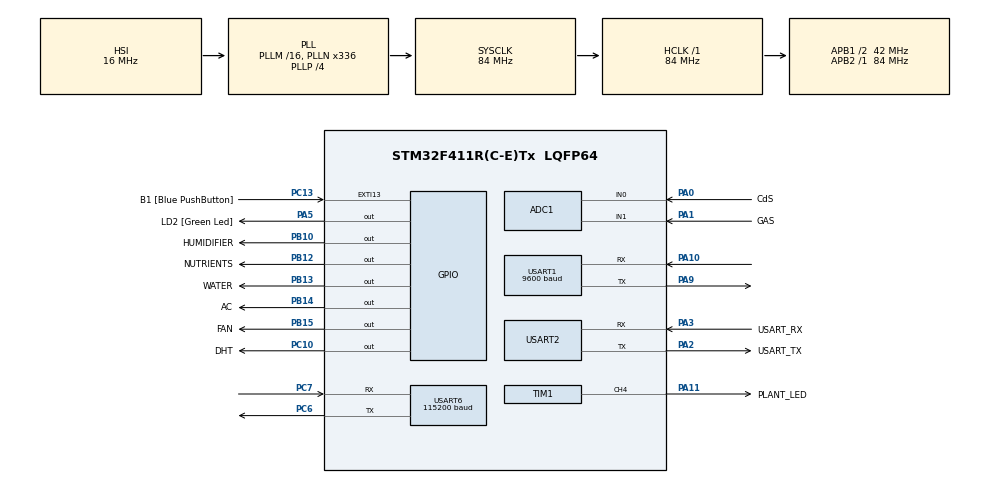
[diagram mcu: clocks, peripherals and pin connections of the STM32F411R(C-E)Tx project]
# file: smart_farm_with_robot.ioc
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ADC1.Channel-0\#ChannelRegularConversion=ADC_CHANNEL_0
ADC1.Channel-1\#ChannelRegularConversion=ADC_CHANNEL_1
ADC1.ExternalTrigConv=ADC_EXTERNALTRIGCONV_T2_TRGO
ADC1.NbrOfConversion=2
ADC1.NbrOfConversionFlag=1
ADC1.Rank-0\#ChannelRegularConversion=1
ADC1.Rank-1\#ChannelRegularConversion=2
ADC1.SamplingTime-0\#ChannelRegularConversion=ADC_SAMPLETIME_56CYCLES
ADC1.SamplingTime-1\#ChannelRegularConversion=ADC_SAMPLETIME_56CYCLES
ADC1.master=1
Mcu.Family=STM32F4
Mcu.Name=STM32F411R(C-E)Tx
Mcu.Package=LQFP64
NVIC.ADC_IRQn=true\:0\:0\:false\:false\:true\:true\:true\:true
NVIC.EXTI15_10_IRQn=true\:0\:0\:false\:false\:true\:true\:true\:true
NVIC.PriorityGroup=NVIC_PRIORITYGROUP_0
NVIC.TIM3_IRQn=true\:0\:0\:false\:false\:true\:true\:true\:true
NVIC.USART1_IRQn=true\:0\:0\:false\:false\:true\:true\:true\:true
NVIC.USART2_IRQn=true\:0\:0\:false\:false\:true\:true\:true\:true
NVIC.USART6_IRQn=true\:0\:0\:false\:false\:true\:true\:true\:true
PA0-WKUP.GPIO_Label=CdS
PA0-WKUP.Signal=ADCx_IN0
PA1.GPIO_Label=GAS
PA1.Signal=ADCx_IN1
PA10.Mode=Asynchronous
PA10.Signal=USART1_RX
PA11.GPIO_Label=PLANT_LED
PA11.Signal=S_TIM1_CH4
PA13.GPIO_Label=TMS
PA13.Mode=Serial_Wire
PA13.Signal=SYS_JTMS-SWDIO
PA14.GPIO_Label=TCK
PA14.Mode=Serial_Wire
PA14.Signal=SYS_JTCK-SWCLK
PA2.GPIO_Label=USART_TX
PA2.Mode=Asynchronous
PA2.Signal=USART2_TX
PA3.GPIO_Label=USART_RX
PA3.Mode=Asynchronous
PA3.Signal=USART2_RX
PA5.GPIO_Label=LD2 [Green Led]
PA5.Signal=GPIO_Output
PA9.Mode=Asynchronous
PA9.Signal=USART1_TX
PB10.GPIO_Label=HUMIDIFIER
PB10.Signal=GPIO_Output
PB12.GPIO_Label=NUTRIENTS
PB12.Signal=GPIO_Output
PB13.GPIO_Label=WATER
PB13.Signal=GPIO_Output
PB14.GPIO_Label=AC
PB14.Signal=GPIO_Output
PB15.GPIO_Label=FAN
PB15.Signal=GPIO_Output
PB3.GPIO_Label=SWO
PB3.Signal=SYS_JTDO-SWO
PC10.GPIO_Label=DHT
PC10.Signal=GPIO_Output
PC13-ANTI_TAMP.GPIO_Label=B1 [Blue PushButton]
PC13-ANTI_TAMP.GPIO_ModeDefaultEXTI=GPIO_MODE_IT_FALLING
PC13-ANTI_TAMP.Signal=GPXTI13
PC14-OSC32_IN.Mode=LSE-External-Oscillator
PC14-OSC32_IN.Signal=RCC_OSC32_IN
PC15-OSC32_OUT.Mode=LSE-External-Oscillator
PC15-OSC32_OUT.Signal=RCC_OSC32_OUT
PC6.Mode=Asynchronous
PC6.Signal=USART6_TX
PC7.Mode=Asynchronous
PC7.Signal=USART6_RX
PH0\ -\ OSC_IN.Mode=HSE-External-Clock-Source
PH0\ -\ OSC_IN.Signal=RCC_OSC_IN
PH1\ -\ OSC_OUT.Mode=HSE-External-Clock-Source
PH1\ -\ OSC_OUT.Signal=RCC_OSC_OUT
ProjectManager.HeapSize=0x200
ProjectManager.StackSize=0x400
ProjectManager.TargetToolchain=STM32CubeIDE
RCC.48MHZClocksFreq_Value=84000000
RCC.AHBFreq_Value=84000000
RCC.APB1CLKDivider=RCC_HCLK_DIV2
RCC.APB1Freq_Value=42000000
RCC.APB1TimFreq_Value=84000000
RCC.APB2Freq_Value=84000000
RCC.APB2TimFreq_Value=84000000
RCC.CortexFreq_Value=84000000
RCC.FLatency-AdvancedSettings=FLASH_LATENCY_2
RCC.HCLKFreq_Value=84000000
RCC.HSE_VALUE=8000000
RCC.HSI_VALUE=16000000
RCC.PLLN=336
RCC.PLLP=RCC_PLLP_DIV4
RCC.SYSCLKFreq_VALUE=84000000
RCC.SYSCLKSource=RCC_SYSCLKSOURCE_PLLCLK
RCC.VCOOutputFreq_Value=336000000
SH.ADCx_IN0.0=ADC1_IN0,IN0
SH.ADCx_IN1.0=ADC1_IN1,IN1
SH.S_TIM1_CH4.0=TIM1_CH4,PWM Generation4 CH4
TIM1.AutoReloadPreload=TIM_AUTORELOAD_PRELOAD_ENABLE
TIM1.Channel-PWM\ Generation4\ CH4=TIM_CHANNEL_4
TIM1.Pulse-PWM\ Generation4\ CH4=0
TIM2.Channel-Output\ Compare2\ No\ Output=TIM_CHANNEL_2
TIM2.Period=1000000-1
TIM2.Prescaler=84-1
TIM2.TIM_MasterOutputTrigger=TIM_TRGO_UPDATE
TIM3.AutoReloadPreload=TIM_AUTORELOAD_PRELOAD_ENABLE
TIM3.Period=1000-1
TIM3.Prescaler=84-1
USART1.BaudRate=9600
USART1.VirtualMode=VM_ASYNC
USART2.VirtualMode=VM_ASYNC
USART6.BaudRate=115200
USART6.VirtualMode=VM_ASYNC
VP_TIM1_VS_ClockSourceINT.Mode=Internal
VP_TIM2_VS_ClockSourceINT.Mode=Internal
VP_TIM2_VS_no_output2.Mode=Output Compare2 No Output
VP_TIM3_VS_ClockSourceINT.Mode=Internal
board=NUCLEO-F411RE

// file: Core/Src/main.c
/* USER CODE BEGIN Header */
/**
  ******************************************************************************
  * @file           : main.c
  * @brief          : Main program body
  ******************************************************************************
  * @attention
  *
  * Copyright (c) 2025 STMicroelectronics.
  * All rights reserved.
  *
  * This software is licensed under terms that can be found in the LICENSE file
  * in the root directory of this software component.
  * If no LICENSE file comes with this software, it is provided AS-IS.
  *
  ******************************************************************************
  */
/* USER CODE END Header */
#include "main.h"

/* USER CODE BEGIN Includes */
#include <string.h>
#include <stdio.h>
#include <stdlib.h>
#include "dht22.h"
/* USER CODE END Includes */

/* USER CODE BEGIN PD */
#define RX_BUF_SIZE 256 // 명령어를 받아오는 버퍼의 최대 크기
#define ARR_CNT 6 // 명령어 인자의 최대 갯수
#define CMD_SIZE 100 // 명령어의 최대 길이
/* USER CODE END PD */

ADC_HandleTypeDef hadc1;

TIM_HandleTypeDef htim1;
TIM_HandleTypeDef htim2;
TIM_HandleTypeDef htim3;

UART_HandleTypeDef huart1;
UART_HandleTypeDef huart2;
UART_HandleTypeDef huart6;

/* USER CODE BEGIN PV */
/* ============ 토양센서 변수 ============= */
float temp, humi, ph; // 온도, 습도, PH
int ec; // EC
/* ============ 1초 타이머(TIM3) 변수 ============= */
volatile int tim3Flag1Sec = 1; // 1초가 되었을 때를 알려주는 플래그 변수
volatile int tim3Flag1Min = 1; // 1분이 되었을 때를 알려주는 플래그 변수
volatile unsigned long long tim3Sec = 0; // 1초마다 하나씩 증가하는 변수(초단위 카운트)
volatile unsigned long long tim3Min = 0; // 1분마다 하나씩 증가하는 변수(초단위 카운트)
/* ============ 명령어(UART6) 변수 ============= */
char rxBuf[RX_BUF_SIZE]; // 라즈베리파이에서 명령어를 받을 버퍼
volatile uint8_t rx_ch; // 명령어를 한바이트씩 불러올 때 저장할 char 변수
volatile uint8_t rx_idx = 0; // 명령어 버퍼의 요소의 index
volatile uint8_t line_received = 0; // 명령어를 모두 받아왔을 때를 알려주는 플래그 변수
/* ============ 실내 온습도 조도, 가스 변수 ============= */
extern float air_temp, air_humi;
volatile uint16_t ADC1xConvertValue[2] = {0}; // 0: 조도, 1: 공기질
volatile int adcFlag = 0;
/* ============ 자동 동작 임계값 조절 변수 ============= */
volatile int airQuality = 50, landEC = 1000;
volatile float airTemp = 26.0, airHumi = 70.0, landHumi = 50.0, landPH = 6.5;
/* ============ 펌프 타이머 상태 변수 ============= */
volatile uint16_t g_water_ms_left = 0;     // 물 펌프 남은 시간(ms)
volatile uint16_t g_nutr_ms_left  = 0;     // 영양제 펌프 남은 시간(ms)
/* USER CODE END PV */

void SystemClock_Config(void);
static void MX_GPIO_Init(void);
static void MX_USART2_UART_Init(void);
static void MX_USART1_UART_Init(void);
static void MX_USART6_UART_Init(void);
static void MX_TIM3_Init(void);
static void MX_ADC1_Init(void);
static void MX_TIM2_Init(void);
static void MX_TIM1_Init(void);
/* USER CODE BEGIN PFP */
void MX_GPIO_LED_ON(int flag);
void MX_GPIO_LED_OFF(int flag);
void UART6_OnCommand(const char* line_in);

static inline void UART6_RxStart_IT(void)
{
	HAL_UART_Receive_IT(&huart6, (uint8_t*)&rx_ch, 1);
}
/* USER CODE END PFP */

/* USER CODE BEGIN 0 */
/* ======================================= 디버깅용 print ===========================================*/
int __io_putchar(int ch) {
  uint8_t c = (uint8_t)ch;
  HAL_UART_Transmit(&huart2, &c, 1, HAL_MAX_DELAY);
  return ch;
}

/* ======================================= 모듈 ON/OFF ===========================================*/
void MX_GPIO_LED_ON(int pin)
{
	HAL_GPIO_WritePin(LD2_GPIO_Port, pin, GPIO_PIN_SET);
}
void MX_GPIO_LED_OFF(int pin)
{
	HAL_GPIO_WritePin(LD2_GPIO_Port, pin, GPIO_PIN_RESET);
}

void MX_GPIO_FAN_ON(int pin)
{
	HAL_GPIO_WritePin(FAN_GPIO_Port, pin, GPIO_PIN_SET);
}
void MX_GPIO_FAN_OFF(int pin)
{
	HAL_GPIO_WritePin(FAN_GPIO_Port, pin, GPIO_PIN_RESET);
}

void MX_GPIO_AC_ON(int pin)
{
	HAL_GPIO_WritePin(AC_GPIO_Port, pin, GPIO_PIN_SET);
}
void MX_GPIO_AC_OFF(int pin)
{
	HAL_GPIO_WritePin(AC_GPIO_Port, pin, GPIO_PIN_RESET);
}

void MX_GPIO_WATER_ON(int pin)
{
	HAL_GPIO_WritePin(WATER_GPIO_Port, pin, GPIO_PIN_SET);
}
void MX_GPIO_WATER_OFF(int pin)
{
	HAL_GPIO_WritePin(WATER_GPIO_Port, pin, GPIO_PIN_RESET);
}

void MX_GPIO_NUTRIENTS_ON(int pin)
{
	HAL_GPIO_WritePin(NUTRIENTS_GPIO_Port, pin, GPIO_PIN_SET);
}
void MX_GPIO_NUTRIENTS_OFF(int pin)
{
	HAL_GPIO_WritePin(NUTRIENTS_GPIO_Port, pin, GPIO_PIN_RESET);
}

void MX_GPIO_PLANT_LED_ON(int pin)
{
	HAL_GPIO_WritePin(PLANT_LED_GPIO_Port, pin, GPIO_PIN_SET);
}
void MX_GPIO_PLANT_LED_OFF(int pin)
{
	HAL_GPIO_WritePin(PLANT_LED_GPIO_Port, pin, GPIO_PIN_RESET);
}
void MX_GPIO_HUMIDIFIER_ON(int pin)
{
	HAL_GPIO_WritePin(HUMIDIFIER_GPIO_Port, pin, GPIO_PIN_SET);
}
void MX_GPIO_HUMIDIFIER_OFF(int pin)
{
	HAL_GPIO_WritePin(HUMIDIFIER_GPIO_Port, pin, GPIO_PIN_RESET);
}
/* =======================================[토양]온도, 습도, EC, PH 값 읽어오기============================================== */
static void ReadTempHumECPH()
{
	uint8_t tx_data[8] = {0x01, 0x03, 0x00, 0x00, 0x00, 0x07, 0x04, 0x08};
	uint8_t rx_data[19] = {0,};

	HAL_UART_Transmit(&huart1, tx_data, 8, 100);
	HAL_UART_Receive(&huart1, rx_data, 19, 100);

	if(rx_data[0] == 1 && rx_data[1] == 3)
	{
	  humi = (float)((rx_data[3] << 8) | rx_data[4]) / 10.0;
	  temp = (float)((rx_data[5] << 8) | rx_data[6]) / 10.0;
	  ec = (int)((rx_data[7] << 8) | rx_data[8]);
	  ph = (float)((rx_data[9] << 8) | rx_data[10]) / 10.0;

	  printf("<토양센서> 온도=%.1f C  습도=%.1f %%RH EC=%d us/cm  PH=%.1f\r\n",
			  temp, humi, ec, ph);
	}
}

/* =======================================1초 카운트 타이머(TIM3)============================================== */
void HAL_TIM_PeriodElapsedCallback(TIM_HandleTypeDef *htim)		//1ms 마다 호출
{
    if (htim->Instance == TIM3)
    {
        static int tim3Cnt = 0;

        // 논블로킹 펌프 타이머 처리: 1ms 단위
        if (g_water_ms_left > 0) {
            if (--g_water_ms_left == 0) {
                MX_GPIO_WATER_OFF(WATER_Pin);   // 5초 만료 → 펌프 OFF
                printf("[WATER] OFF\r\n");
            }
        }
        if (g_nutr_ms_left > 0) {
            if (--g_nutr_ms_left == 0) {
                MX_GPIO_NUTRIENTS_OFF(NUTRIENTS_Pin); // 2초 만료 → 영양제 OFF
                printf("[NUTRIENTS] OFF\r\n");
            }
        }

        // 1초 플래그 로직
        tim3Cnt++;
        if (tim3Cnt >= 1000) // 1ms * 1000 = 1초
        {
            tim3Flag1Sec = 1;
            tim3Sec++;
            tim3Cnt = 0;
        }

        if (tim3Sec >= 60) // 1분마다
        {
        	tim3Flag1Min = 1;
        	tim3Min++;
        	tim3Sec = 0;
        }
    }

    // TIM2는 ADC 트리거 용으로 쓰고 있으므로 여기서는 아무 것도 안 함.
    if (htim->Instance == TIM2)
    {
    	/* no-op */
    }
}

/* =======================================라즈베리파이에서 명령어 받아오기(UART6)============================================== */
void HAL_UART_RxCpltCallback(UART_HandleTypeDef *huart)
{
	if (huart->Instance == USART6)
	{
		if (rx_ch == '\n' || rx_ch == '\r')
		{
			line_received = 1;
		}
		else
		{
			if (rx_idx < RX_BUF_SIZE - 1)
			{
				rxBuf[rx_idx++] = rx_ch;
			}
		}

		UART6_RxStart_IT(); // 다음 바이트 계속 수신
	}
}
void HAL_UART_ErrorCallback(UART_HandleTypeDef *huart)
{
  if (huart->Instance == USART6) {
    UART6_RxStart_IT();
  }
}

/* =======================================명령어 수신 시 실행되는 함수============================================== */
void UART6_HandleLine(void)
{
    // 빠른 반환: 이벤트 없으면 끝
    if (!line_received) return;

    // ---- 크리티컬 섹션: ISR과 경합 방지용 ----
    __disable_irq();
    uint16_t n = rx_idx;
    if (n >= RX_BUF_SIZE) n = RX_BUF_SIZE - 1;

    static char line[RX_BUF_SIZE];              // 로컬(정적) 라인 버퍼
    memcpy(line, (const void*)rxBuf, n);        // 전역 -> 로컬 복사
    rx_idx = 0;                                 // 전역 인덱스 리셋
    line_received = 0;                          // 이벤트 플래그 클리어
    __enable_irq();
    // ---- 크리티컬 섹션 종료 ----

    // NUL-terminate
    line[n] = '\0';

    // 1) 디버그 출력(UART2)
    printf("%s\r\n", line);

    // 2) 콜백 훅
	UART6_OnCommand(line);

    // 3) 에코: '\n' 하나 붙여서 UART6로 돌려보내기
//    if (n < RX_BUF_SIZE - 1) {
//        line[n++] = '\n';
//    }
//    HAL_UART_Transmit(&huart6, (uint8_t*)line, n, HAL_MAX_DELAY);
}

/* =======================================명령어 처리============================================== */
/* line 끝의 \r, \n, 공백 제거 */
static void rstrip(char *s)
{
    size_t n = strlen(s);
    while (n && (s[n-1] == '\r' || s[n-1] == '\n' || s[n-1] == ' ' || s[n-1] == '\t')) {
        s[--n] = '\0';
    }
}
__attribute__((weak)) void UART6_OnCommand(const char* line_in)
{
    /* 주의: line_in은 상수 포인터일 수 있으므로 안전하게 로컬 버퍼로 복사 */
    char line[64];
    strncpy(line, line_in, sizeof(line)-1);
    line[sizeof(line)-1] = '\0';
    rstrip(line);

    // 받아온 명령어 파싱을 위한 변수
    int i = 0;
    char * pToken;
    char * pArray[ARR_CNT]={0};

    pToken = strtok(line, "[@]");
    while (pToken != NULL)
    {
    	pArray[i] = pToken;
    	if(++i >= ARR_CNT)
    		break;
    	pToken = strtok(NULL, "[@]");
    }

    if(!strcmp(pArray[0], "LED")) // 생장등 컨트롤
    {
    	if(!strcmp(pArray[1], "ON"))
    	{
    		MX_GPIO_LED_ON(LD2_Pin);   // LD2 켬
    		__HAL_TIM_SetCompare(&htim1, TIM_CHANNEL_4, 65535); // 생장등 최대
			printf("LED ON\r\n");
    	}
    	else if(!strcmp(pArray[1], "OFF"))
    	{
    		MX_GPIO_LED_OFF(LD2_Pin);   // LD2 끔
    		__HAL_TIM_SetCompare(&htim1, TIM_CHANNEL_4, 0); // 생장등 끔
			printf("LED OFF\r\n");
    	}
    	else if(!strcmp(pArray[1],"LOW"))
    	{
    		__HAL_TIM_SetCompare(&htim1, TIM_CHANNEL_4, 21854); // 생장등 LOW
    		printf("LED LOW\r\n");
    	}
    	else if(!strcmp(pArray[1],"MID"))
    	{
    		__HAL_TIM_SetCompare(&htim1, TIM_CHANNEL_4, 43690); // 생장등 MID
    		printf("LED MID\r\n");
    	}
    	else if(!strcmp(pArray[1],"HIGH"))
    	{
    		__HAL_TIM_SetCompare(&htim1, TIM_CHANNEL_4, 65535); // 생장등 HIGH
    		printf("LED HIGH\r\n");
    	}
    }
    else if(!strcmp(pArray[0], "AIR")) // 실내 환경 임계 값 변경
    {
    	if(!strcmp(pArray[1], "TEMP"))
    	{
    		airTemp = atoff(pArray[2]);
    		printf("실내 온도 조정: %.1f\r\n", airTemp);
    	}
    	else if(!strcmp(pArray[1], "HUMI"))
    	{
    		airHumi = atoff(pArray[2]);
    		printf("실내 습도 조정: %.1f\r\n", airHumi);
    	}
    	else if(!strcmp(pArray[1], "QUALITY"))
    	{
    		airQuality = atoi(pArray[2]);
    		printf("실내 공기질 조정: %d\r\n", airQuality);
    	}
    	if(!strcmp(pArray[1], "ON"))
    	{
    		MX_GPIO_AC_ON(AC_Pin);   // AC 켬
    		MX_GPIO_FAN_ON(FAN_Pin);	// FAN 켬
    		MX_GPIO_HUMIDIFIER_ON(HUMIDIFIER_Pin); // HUMIDIFIER 켬
			printf("AC, FAN ON\r\n");
    	}
    	else if(!strcmp(pArray[1], "OFF"))
    	{
    		MX_GPIO_AC_OFF(AC_Pin);   // AC 끔
    		MX_GPIO_FAN_OFF(FAN_Pin);	// FAN 끔
    		MX_GPIO_HUMIDIFIER_OFF(HUMIDIFIER_Pin); // HUMIDIFIER 끔
			printf("AC, FAN OFF\r\n");
    	}

    }
    else if(!strcmp(pArray[0], "LAND")) // 토양 환경 임계 값 변경
    {
    	if(!strcmp(pArray[1], "PH"))
    	{
    		landPH = atoff(pArray[2]);
    		printf("토양 PH 조정: %.1f\r\n", landPH);
    	}
    	else if(!strcmp(pArray[1], "HUMI"))
    	{
    		landHumi = atoff(pArray[2]);
    		printf("토양 습도 조정: %.1f\r\n", landHumi);
    	}
    	else if(!strcmp(pArray[1], "EC"))
    	{
    		landEC = atoi(pArray[2]);
    		printf("토양 EC 조정: %d\r\n", landEC);
    	}
    	if(!strcmp(pArray[1], "ON"))
    	{
    		MX_GPIO_WATER_ON(WATER_Pin);   // WATER 켬
    		MX_GPIO_NUTRIENTS_ON(NUTRIENTS_Pin);	// NUTRIENTS 켬
			printf("WATER, NUTRIENTS ON\r\n");
    	}
    	else if(!strcmp(pArray[1], "OFF"))
    	{
    		MX_GPIO_WATER_OFF(WATER_Pin);   // WATER 끔
    		MX_GPIO_NUTRIENTS_OFF(NUTRIENTS_Pin);	// NUTRIENTS 끔
			printf("WATER, NUTRIENTS OFF\r\n");
    	}
    }
    else
    {
        // 알 수 없는 명령 (원하면 NAK 회신)
        // const char *nak = "ERR Unknown command\n";
        // HAL_UART_Transmit(&huart6, (uint8_t*)nak, strlen(nak), 50);
    }
}

/* =======================================아날로그 신호(조도, 가스) 받아오기============================================= */
void HAL_ADC_ConvCpltCallback(ADC_HandleTypeDef *hadc)
{
	static int channel = 0;
	if (channel == 0)
	{
		uint32_t reverse = (uint32_t)4095 - (uint32_t)HAL_ADC_GetValue(hadc);
		uint32_t cds = (reverse * 100 + 2047) / 4095;
		ADC1xConvertValue[channel] = cds;
		channel = 1;
	}
	else if (channel == 1)
	{
		uint32_t gas = ((uint32_t)HAL_ADC_GetValue(hadc) * 100 + 2047) / 4095;
		ADC1xConvertValue[channel] = gas;
		channel = 0;
		adcFlag = 1;
	}

}

/* =======================================아날로그 신호(조도, 가스) 수신 시 실행되는 함수============================================= */
void ADC_HandleLine(void)
{
	if (!adcFlag) return;

	adcFlag = 0;
	printf("조도 : %d, 가스: %d\r\n", ADC1xConvertValue[0], ADC1xConvertValue[1]);
}

/* =======================================물 주기 함수============================================= */
void WaterPump10Sec(void)
{
    // 이미 동작 중이면 재시작하지 않고 무시
    if (g_water_ms_left > 0) {
        printf("[WATER] busy (%ums left)\r\n", (unsigned)g_water_ms_left);
        return;
    }

    MX_GPIO_WATER_ON(WATER_Pin);
    g_water_ms_left = 10000;   // 10초
    printf("[WATER] ON\r\n");
}

/* =======================================영양제 주기 함수============================================= */
void NutrientsPump5Sec(void)
{
	// 이미 동작 중이면 재시작하지 않고 무시
    if (g_nutr_ms_left > 0) {
        printf("[NUTRIENTS] busy (%ums left)\r\n", (unsigned)g_nutr_ms_left);
        return;
    }

    MX_GPIO_NUTRIENTS_ON(NUTRIENTS_Pin);
    g_nutr_ms_left = 5000;    // 5초
    printf("[NUTRIENTS] ON\r\n");
}

/* =======================================1분마다 자동 임계 값과 현재 값을 비교하는 함수============================================= */
void AutomaticAction(void)
{
	/*------------------------------------실내 공기----------------------------------------*/
	if(air_temp > airTemp) // 실내 온도
	{
	  // AC 켬
	  MX_GPIO_AC_ON(AC_Pin);
	  printf("[AC] ON (임계 값: %.1f, 현재 값: %.1f)\r\n", airTemp, air_temp);
	}
	else
	{
	  // AC 끔
	  MX_GPIO_AC_OFF(AC_Pin);
	  printf("[AC] OFF (임계 값: %.1f, 현재 값: %.1f)\r\n", airTemp, air_temp);
	}

	if(air_humi < airHumi) // 실내 습도
	{
	  // 가습기 켬
		MX_GPIO_HUMIDIFIER_ON(HUMIDIFIER_Pin);
		printf("[HUMIDIFIER] ON (임계 값: %.1f, 현재 값: %.1f)\r\n", airHumi, air_humi);
	}
	else
	{
	  // 가습기 끔
		MX_GPIO_HUMIDIFIER_OFF(HUMIDIFIER_Pin);
		printf("[HUMIDIFIER] OFF (임계 값: %.1f, 현재 값: %.1f)\r\n", airHumi, air_humi);
	}

	if(ADC1xConvertValue[1] > airQuality) // 실내 공기질
	{
	  // 환기 켬
	  MX_GPIO_FAN_ON(FAN_Pin);
	  printf("[FAN] ON (임계 값: %d, 현재 값: %d)\r\n", airQuality, ADC1xConvertValue[1]);
	}
	else
	{
	  // 환기 끔
	  MX_GPIO_FAN_OFF(FAN_Pin);
	  printf("[FAN] OFF (임계 값: %d, 현재 값: %d)\r\n", airQuality, ADC1xConvertValue[1]);
	}

	/*------------------------------------토양----------------------------------------*/
	if(humi < landHumi) // 토양 습도
	{
		// 물 주기(10초)
		WaterPump10Sec();
	}

	if(ph > landPH || ec < landEC) // 토양 PH & EC
	{
		// 영양제 주기(5초)
		NutrientsPump5Sec();
	}
}

/* =======================================5분마다 현재 환경 값을 DB에 저장하기 위해 UART6로 보내는 함수============================================= */
void DB_UART6(void)
{
    uint8_t sendBuf[CMD_SIZE] = {0};     // <-- char -> uint8_t

    int n = snprintf((char*)sendBuf, sizeof(sendBuf),
                     "AIR@%.1f@%.1f@%d@%d\n",
                     air_temp, air_humi, ADC1xConvertValue[1], ADC1xConvertValue[0]); // AIR@온도@습도@공기질@조도
    if (n > 0) {
    	HAL_UART_Transmit(&huart6, sendBuf, (uint16_t)n, HAL_MAX_DELAY);
    	printf("%s\r\n", sendBuf);
    }

    n = snprintf((char*)sendBuf, sizeof(sendBuf),
                 "LAND@%.1f@%.1f@%d@%.1f\n",
                 temp, humi, ec, ph); // LAND@온도@습도@ec@ph
    if (n > 0) {
    	HAL_UART_Transmit(&huart6, sendBuf, (uint16_t)n, HAL_MAX_DELAY);
    	printf("%s\r\n", sendBuf);
    }
}

/* =======================================10초마다 현재 환경 값을 디버깅하기위해 UART6로 보내는 함수============================================= */
void Debuging_UART6(void)
{
    uint8_t sendBuf[CMD_SIZE] = {0};     // <-- char -> uint8_t

    int n = snprintf((char*)sendBuf, sizeof(sendBuf),
                     "현재 스마트팜 내부 환경 => AIR@%.1f@%.1f@%d@%d\n",
                     air_temp, air_humi, ADC1xConvertValue[1], ADC1xConvertValue[0]); // AIR@온도@습도@공기질@조도
    if (n > 0) {
    	HAL_UART_Transmit(&huart6, sendBuf, (uint16_t)n, HAL_MAX_DELAY);
    	printf("%s\r\n", sendBuf);
    }

    n = snprintf((char*)sendBuf, sizeof(sendBuf),
                 "현재 토양 환경 => LAND@%.1f@%.1f@%d@%.1f\n",
                 temp, humi, ec, ph); // LAND@온도@습도@ec@ph
    if (n > 0) {
    	HAL_UART_Transmit(&huart6, sendBuf, (uint16_t)n, HAL_MAX_DELAY);
    	printf("%s\r\n", sendBuf);
    }
}
/* USER CODE END 0 */

int main(void)
{

  /* MCU Configuration--------------------------------------------------------*/

  /* Reset of all peripherals, Initializes the Flash interface and the Systick. */
  HAL_Init();

  /* Configure the system clock */
  SystemClock_Config();

  /* Initialize all configured peripherals */
  MX_GPIO_Init();
  MX_USART2_UART_Init();
  MX_USART1_UART_Init();
  MX_USART6_UART_Init();
  MX_TIM3_Init();
  MX_ADC1_Init();
  MX_TIM2_Init();
  MX_TIM1_Init();
  /* USER CODE BEGIN 2 */
  printf("\r\n[BOOT] Soil Sensor , temp & humi (USART1=Sensor, USART6=DHT, USART2=Debug)\r\n");

  UART6_RxStart_IT();
  DHT22_Init();

  if(HAL_TIM_Base_Start_IT(&htim3) != HAL_OK)
  {
	  Error_Handler();
  }

  if(HAL_TIM_Base_Start_IT(&htim2) != HAL_OK)
  {
	  Error_Handler();
  }

  if(HAL_TIM_PWM_Start(&htim1, TIM_CHANNEL_4) != HAL_OK)
  {
	  Error_Handler();
  }

  if (HAL_ADC_Start_IT(&hadc1) != HAL_OK)
  {
	  Error_Handler();
  }
  /* USER CODE END 2 */

  /* Infinite loop */
  /* USER CODE BEGIN WHILE */
  while (1)
  {
	  // 라즈베리파이에서 받은 명령어 처리 함수
	  UART6_HandleLine();

	  // 실내 온습도값 읽고 출력(5초에 한번 씩)
	  DHT22_ReadPeriodic();

	  // 조도, 가스값 읽어옴
	  ADC_HandleLine();

	  //1초에 한번
	  if(tim3Flag1Sec)
	  {
		  tim3Flag1Sec = 0; // 1초 플래그 초기화

		  if(!(tim3Sec%10)) //10초에 한 번
		  {
			  // (토양)온도, 습도, EC, PH값 읽고 출력
			  ReadTempHumECPH();
			  // 현재 공기, 토양 센서 값 디버깅(UART6)
			  Debuging_UART6();
		  }
	  }

	  if(tim3Flag1Min)
	  {
		  tim3Flag1Min = 0; // 1분 플래그 초기화

		  // 자동 임계 값과 현재 값을 비교
		  AutomaticAction();

		  if (!(tim3Min % 5)) // 5분에 한 번
		  {
			  DB_UART6(); // DB에 생장 환경 데이터 전송
		  }
	  }

    /* USER CODE END WHILE */

  }
}

void SystemClock_Config(void)
{
  RCC_OscInitTypeDef RCC_OscInitStruct = {0};
  RCC_ClkInitTypeDef RCC_ClkInitStruct = {0};

  /** Configure the main internal regulator output voltage
  */
  __HAL_RCC_PWR_CLK_ENABLE();
  __HAL_PWR_VOLTAGESCALING_CONFIG(PWR_REGULATOR_VOLTAGE_SCALE1);

  /** Initializes the RCC Oscillators according to the specified parameters
  * in the RCC_OscInitTypeDef structure.
  */
  RCC_OscInitStruct.OscillatorType = RCC_OSCILLATORTYPE_HSI;
  RCC_OscInitStruct.HSIState = RCC_HSI_ON;
  RCC_OscInitStruct.HSICalibrationValue = RCC_HSICALIBRATION_DEFAULT;
  RCC_OscInitStruct.PLL.PLLState = RCC_PLL_ON;
  RCC_OscInitStruct.PLL.PLLSource = RCC_PLLSOURCE_HSI;
  RCC_OscInitStruct.PLL.PLLM = 16;
  RCC_OscInitStruct.PLL.PLLN = 336;
  RCC_OscInitStruct.PLL.PLLP = RCC_PLLP_DIV4;
  RCC_OscInitStruct.PLL.PLLQ = 4;
  if (HAL_RCC_OscConfig(&RCC_OscInitStruct) != HAL_OK)
  {
    Error_Handler();
  }

  /** Initializes the CPU, AHB and APB buses clocks
  */
  RCC_ClkInitStruct.ClockType = RCC_CLOCKTYPE_HCLK|RCC_CLOCKTYPE_SYSCLK
                              |RCC_CLOCKTYPE_PCLK1|RCC_CLOCKTYPE_PCLK2;
  RCC_ClkInitStruct.SYSCLKSource = RCC_SYSCLKSOURCE_PLLCLK;
  RCC_ClkInitStruct.AHBCLKDivider = RCC_SYSCLK_DIV1;
  RCC_ClkInitStruct.APB1CLKDivider = RCC_HCLK_DIV2;
  RCC_ClkInitStruct.APB2CLKDivider = RCC_HCLK_DIV1;

  if (HAL_RCC_ClockConfig(&RCC_ClkInitStruct, FLASH_LATENCY_2) != HAL_OK)
  {
    Error_Handler();
  }
}

static void MX_ADC1_Init(void)
{

  ADC_ChannelConfTypeDef sConfig = {0};

  /** Configure the global features of the ADC (Clock, Resolution, Data Alignment and number of conversion)
  */
  hadc1.Instance = ADC1;
  hadc1.Init.ClockPrescaler = ADC_CLOCK_SYNC_PCLK_DIV4;
  hadc1.Init.Resolution = ADC_RESOLUTION_12B;
  hadc1.Init.ScanConvMode = ENABLE;
  hadc1.Init.ContinuousConvMode = DISABLE;
  hadc1.Init.DiscontinuousConvMode = DISABLE;
  hadc1.Init.ExternalTrigConvEdge = ADC_EXTERNALTRIGCONVEDGE_RISING;
  hadc1.Init.ExternalTrigConv = ADC_EXTERNALTRIGCONV_T2_TRGO;
  hadc1.Init.DataAlign = ADC_DATAALIGN_RIGHT;
  hadc1.Init.NbrOfConversion = 2;
  hadc1.Init.DMAContinuousRequests = DISABLE;
  hadc1.Init.EOCSelection = ADC_EOC_SINGLE_CONV;
  if (HAL_ADC_Init(&hadc1) != HAL_OK)
  {
    Error_Handler();
  }

  /** Configure for the selected ADC regular channel its corresponding rank in the sequencer and its sample time.
  */
  sConfig.Channel = ADC_CHANNEL_0;
  sConfig.Rank = 1;
  sConfig.SamplingTime = ADC_SAMPLETIME_56CYCLES;
  if (HAL_ADC_ConfigChannel(&hadc1, &sConfig) != HAL_OK)
  {
    Error_Handler();
  }

  /** Configure for the selected ADC regular channel its corresponding rank in the sequencer and its sample time.
  */
  sConfig.Channel = ADC_CHANNEL_1;
  sConfig.Rank = 2;
  if (HAL_ADC_ConfigChannel(&hadc1, &sConfig) != HAL_OK)
  {
    Error_Handler();
  }

}

static void MX_TIM1_Init(void)
{

  TIM_ClockConfigTypeDef sClockSourceConfig = {0};
  TIM_MasterConfigTypeDef sMasterConfig = {0};
  TIM_OC_InitTypeDef sConfigOC = {0};
  TIM_BreakDeadTimeConfigTypeDef sBreakDeadTimeConfig = {0};

  htim1.Instance = TIM1;
  htim1.Init.Prescaler = 0;
  htim1.Init.CounterMode = TIM_COUNTERMODE_UP;
  htim1.Init.Period = 65535;
  htim1.Init.ClockDivision = TIM_CLOCKDIVISION_DIV1;
  htim1.Init.RepetitionCounter = 0;
  htim1.Init.AutoReloadPreload = TIM_AUTORELOAD_PRELOAD_ENABLE;
  if (HAL_TIM_Base_Init(&htim1) != HAL_OK)
  {
    Error_Handler();
  }
  sClockSourceConfig.ClockSource = TIM_CLOCKSOURCE_INTERNAL;
  if (HAL_TIM_ConfigClockSource(&htim1, &sClockSourceConfig) != HAL_OK)
  {
    Error_Handler();
  }
  if (HAL_TIM_PWM_Init(&htim1) != HAL_OK)
  {
    Error_Handler();
  }
  sMasterConfig.MasterOutputTrigger = TIM_TRGO_RESET;
  sMasterConfig.MasterSlaveMode = TIM_MASTERSLAVEMODE_DISABLE;
  if (HAL_TIMEx_MasterConfigSynchronization(&htim1, &sMasterConfig) != HAL_OK)
  {
    Error_Handler();
  }
  sConfigOC.OCMode = TIM_OCMODE_PWM1;
  sConfigOC.Pulse = 0;
  sConfigOC.OCPolarity = TIM_OCPOLARITY_HIGH;
  sConfigOC.OCFastMode = TIM_OCFAST_DISABLE;
  sConfigOC.OCIdleState = TIM_OCIDLESTATE_RESET;
  sConfigOC.OCNIdleState = TIM_OCNIDLESTATE_RESET;
  if (HAL_TIM_PWM_ConfigChannel(&htim1, &sConfigOC, TIM_CHANNEL_4) != HAL_OK)
  {
    Error_Handler();
  }
  sBreakDeadTimeConfig.OffStateRunMode = TIM_OSSR_DISABLE;
  sBreakDeadTimeConfig.OffStateIDLEMode = TIM_OSSI_DISABLE;
  sBreakDeadTimeConfig.LockLevel = TIM_LOCKLEVEL_OFF;
  sBreakDeadTimeConfig.DeadTime = 0;
  sBreakDeadTimeConfig.BreakState = TIM_BREAK_DISABLE;
  sBreakDeadTimeConfig.BreakPolarity = TIM_BREAKPOLARITY_HIGH;
  sBreakDeadTimeConfig.AutomaticOutput = TIM_AUTOMATICOUTPUT_DISABLE;
  if (HAL_TIMEx_ConfigBreakDeadTime(&htim1, &sBreakDeadTimeConfig) != HAL_OK)
  {
    Error_Handler();
  }
  HAL_TIM_MspPostInit(&htim1);

}

static void MX_TIM2_Init(void)
{

  TIM_ClockConfigTypeDef sClockSourceConfig = {0};
  TIM_MasterConfigTypeDef sMasterConfig = {0};
  TIM_OC_InitTypeDef sConfigOC = {0};

  htim2.Instance = TIM2;
  htim2.Init.Prescaler = 84-1;
  htim2.Init.CounterMode = TIM_COUNTERMODE_UP;
  htim2.Init.Period = 1000000-1;
  htim2.Init.ClockDivision = TIM_CLOCKDIVISION_DIV1;
  htim2.Init.AutoReloadPreload = TIM_AUTORELOAD_PRELOAD_DISABLE;
  if (HAL_TIM_Base_Init(&htim2) != HAL_OK)
  {
    Error_Handler();
  }
  sClockSourceConfig.ClockSource = TIM_CLOCKSOURCE_INTERNAL;
  if (HAL_TIM_ConfigClockSource(&htim2, &sClockSourceConfig) != HAL_OK)
  {
    Error_Handler();
  }
  if (HAL_TIM_OC_Init(&htim2) != HAL_OK)
  {
    Error_Handler();
  }
  sMasterConfig.MasterOutputTrigger = TIM_TRGO_UPDATE;
  sMasterConfig.MasterSlaveMode = TIM_MASTERSLAVEMODE_DISABLE;
  if (HAL_TIMEx_MasterConfigSynchronization(&htim2, &sMasterConfig) != HAL_OK)
  {
    Error_Handler();
  }
  sConfigOC.OCMode = TIM_OCMODE_TIMING;
  sConfigOC.Pulse = 0;
  sConfigOC.OCPolarity = TIM_OCPOLARITY_HIGH;
  sConfigOC.OCFastMode = TIM_OCFAST_DISABLE;
  if (HAL_TIM_OC_ConfigChannel(&htim2, &sConfigOC, TIM_CHANNEL_2) != HAL_OK)
  {
    Error_Handler();
  }

}

static void MX_TIM3_Init(void)
{

  TIM_ClockConfigTypeDef sClockSourceConfig = {0};
  TIM_MasterConfigTypeDef sMasterConfig = {0};

  htim3.Instance = TIM3;
  htim3.Init.Prescaler = 84-1;
  htim3.Init.CounterMode = TIM_COUNTERMODE_UP;
  htim3.Init.Period = 1000-1;
  htim3.Init.ClockDivision = TIM_CLOCKDIVISION_DIV1;
  htim3.Init.AutoReloadPreload = TIM_AUTORELOAD_PRELOAD_ENABLE;
  if (HAL_TIM_Base_Init(&htim3) != HAL_OK)
  {
    Error_Handler();
  }
  sClockSourceConfig.ClockSource = TIM_CLOCKSOURCE_INTERNAL;
  if (HAL_TIM_ConfigClockSource(&htim3, &sClockSourceConfig) != HAL_OK)
  {
    Error_Handler();
  }
  sMasterConfig.MasterOutputTrigger = TIM_TRGO_RESET;
  sMasterConfig.MasterSlaveMode = TIM_MASTERSLAVEMODE_DISABLE;
  if (HAL_TIMEx_MasterConfigSynchronization(&htim3, &sMasterConfig) != HAL_OK)
  {
    Error_Handler();
  }

}

static void MX_USART1_UART_Init(void)
{

  huart1.Instance = USART1;
  huart1.Init.BaudRate = 9600;
  huart1.Init.WordLength = UART_WORDLENGTH_8B;
  huart1.Init.StopBits = UART_STOPBITS_1;
  huart1.Init.Parity = UART_PARITY_NONE;
  huart1.Init.Mode = UART_MODE_TX_RX;
  huart1.Init.HwFlowCtl = UART_HWCONTROL_NONE;
  huart1.Init.OverSampling = UART_OVERSAMPLING_16;
  if (HAL_UART_Init(&huart1) != HAL_OK)
  {
    Error_Handler();
  }

}

static void MX_USART2_UART_Init(void)
{

  huart2.Instance = USART2;
  huart2.Init.BaudRate = 115200;
  huart2.Init.WordLength = UART_WORDLENGTH_8B;
  huart2.Init.StopBits = UART_STOPBITS_1;
  huart2.Init.Parity = UART_PARITY_NONE;
  huart2.Init.Mode = UART_MODE_TX_RX;
  huart2.Init.HwFlowCtl = UART_HWCONTROL_NONE;
  huart2.Init.OverSampling = UART_OVERSAMPLING_16;
  if (HAL_UART_Init(&huart2) != HAL_OK)
  {
    Error_Handler();
  }

}

static void MX_USART6_UART_Init(void)
{

  huart6.Instance = USART6;
  huart6.Init.BaudRate = 115200;
  huart6.Init.WordLength = UART_WORDLENGTH_8B;
  huart6.Init.StopBits = UART_STOPBITS_1;
  huart6.Init.Parity = UART_PARITY_NONE;
  huart6.Init.Mode = UART_MODE_TX_RX;
  huart6.Init.HwFlowCtl = UART_HWCONTROL_NONE;
  huart6.Init.OverSampling = UART_OVERSAMPLING_16;
  if (HAL_UART_Init(&huart6) != HAL_OK)
  {
    Error_Handler();
  }

}

static void MX_GPIO_Init(void)
{
  GPIO_InitTypeDef GPIO_InitStruct = {0};

  /* GPIO Ports Clock Enable */
  __HAL_RCC_GPIOC_CLK_ENABLE();
  __HAL_RCC_GPIOH_CLK_ENABLE();
  __HAL_RCC_GPIOA_CLK_ENABLE();
  __HAL_RCC_GPIOB_CLK_ENABLE();

  /*Configure GPIO pin Output Level */
  HAL_GPIO_WritePin(LD2_GPIO_Port, LD2_Pin, GPIO_PIN_RESET);

  /*Configure GPIO pin Output Level */
  HAL_GPIO_WritePin(GPIOB, HUMIDIFIER_Pin|NUTRIENTS_Pin|WATER_Pin|AC_Pin
                          |FAN_Pin, GPIO_PIN_RESET);

  /*Configure GPIO pin Output Level */
  HAL_GPIO_WritePin(DHT_GPIO_Port, DHT_Pin, GPIO_PIN_RESET);

  /*Configure GPIO pin : B1_Pin */
  GPIO_InitStruct.Pin = B1_Pin;
  GPIO_InitStruct.Mode = GPIO_MODE_IT_FALLING;
  GPIO_InitStruct.Pull = GPIO_NOPULL;
  HAL_GPIO_Init(B1_GPIO_Port, &GPIO_InitStruct);

  /*Configure GPIO pin : LD2_Pin */
  GPIO_InitStruct.Pin = LD2_Pin;
  GPIO_InitStruct.Mode = GPIO_MODE_OUTPUT_PP;
  GPIO_InitStruct.Pull = GPIO_NOPULL;
  GPIO_InitStruct.Speed = GPIO_SPEED_FREQ_LOW;
  HAL_GPIO_Init(LD2_GPIO_Port, &GPIO_InitStruct);

  /*Configure GPIO pins : HUMIDIFIER_Pin NUTRIENTS_Pin WATER_Pin AC_Pin
                           FAN_Pin */
  GPIO_InitStruct.Pin = HUMIDIFIER_Pin|NUTRIENTS_Pin|WATER_Pin|AC_Pin
                          |FAN_Pin;
  GPIO_InitStruct.Mode = GPIO_MODE_OUTPUT_PP;
  GPIO_InitStruct.Pull = GPIO_NOPULL;
  GPIO_InitStruct.Speed = GPIO_SPEED_FREQ_LOW;
  HAL_GPIO_Init(GPIOB, &GPIO_InitStruct);

  /*Configure GPIO pin : DHT_Pin */
  GPIO_InitStruct.Pin = DHT_Pin;
  GPIO_InitStruct.Mode = GPIO_MODE_OUTPUT_PP;
  GPIO_InitStruct.Pull = GPIO_NOPULL;
  GPIO_InitStruct.Speed = GPIO_SPEED_FREQ_LOW;
  HAL_GPIO_Init(DHT_GPIO_Port, &GPIO_InitStruct);

  /* EXTI interrupt init*/
  HAL_NVIC_SetPriority(EXTI15_10_IRQn, 0, 0);
  HAL_NVIC_EnableIRQ(EXTI15_10_IRQn);

}

void Error_Handler(void)
{
  __disable_irq();
  while (1)
  {
  }
}
